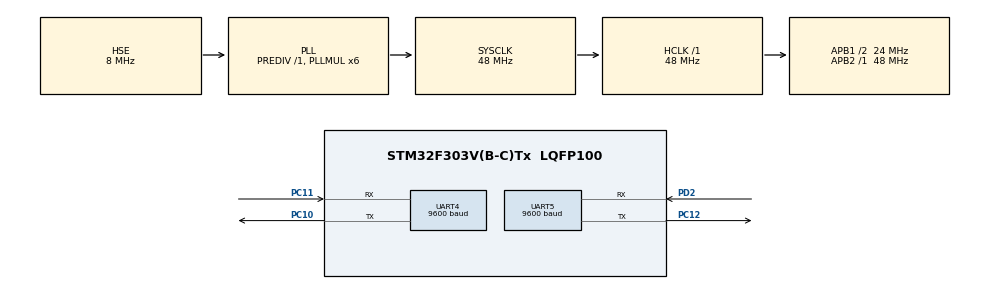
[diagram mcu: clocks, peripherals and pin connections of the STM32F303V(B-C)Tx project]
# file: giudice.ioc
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Mcu.Family=STM32F3
Mcu.Name=STM32F303V(B-C)Tx
Mcu.Package=LQFP100
NVIC.PriorityGroup=NVIC_PRIORITYGROUP_0
NVIC.TIM6_DAC_IRQn=true\:0\:0\:false\:false\:true\:true\:true\:true
NVIC.TIM7_IRQn=true\:0\:1\:false\:false\:true\:true\:true\:true
NVIC.UART4_IRQn=true\:0\:1\:false\:false\:true\:true\:true\:true
NVIC.UART5_IRQn=true\:0\:1\:false\:false\:true\:true\:true\:true
PA11.GPIO_Label=DM
PA11.Signal=USB_DM
PA12.GPIO_Label=DP
PA12.Signal=USB_DP
PA13.GPIO_Label=SWDIO
PA13.Mode=Serial_Wire
PA13.Signal=SYS_JTMS-SWDIO
PA14.GPIO_Label=SWCLK
PA14.Mode=Serial_Wire
PA14.Signal=SYS_JTCK-SWCLK
PA5.GPIO_Label=SPI1_SCK [L3GD20_SCL/SPC]
PA5.Signal=SPI1_SCK
PA6.GPIO_Label=SPI1_MISO [L3GD20_SA0/SDO]
PA6.Signal=SPI1_MISO
PA7.GPIO_Label=SPI1_MISO [L3GD20_SDA/SDI/SDO]
PA7.Signal=SPI1_MOSI
PB3.GPIO_Label=SWO
PB3.Signal=SYS_JTDO-TRACESWO
PB6.GPIO_Label=I2C1_SCL [LSM303DLHC_SCL]
PB6.GPIO_Pu=GPIO_PULLUP
PB6.Signal=I2C1_SCL
PB7.GPIO_Label=I2C1_SDA [LSM303DLHC_SDA]
PB7.GPIO_Pu=GPIO_PULLUP
PB7.Signal=I2C1_SDA
PC10.Mode=Asynchronous
PC10.Signal=UART4_TX
PC11.Mode=Asynchronous
PC11.Signal=UART4_RX
PC12.Mode=Asynchronous
PC12.Signal=UART5_TX
PC14-OSC32_IN.GPIO_Label=OSC32_IN
PC14-OSC32_IN.Signal=RCC_OSC32_IN
PC15-OSC32_OUT.GPIO_Label=OSC32_OUT
PC15-OSC32_OUT.Signal=RCC_OSC32_OUT
PD2.Mode=Asynchronous
PD2.Signal=UART5_RX
PF0-OSC_IN.GPIO_Label=OSC_IN
PF0-OSC_IN.Mode=HSE-External-Clock-Source
PF0-OSC_IN.Signal=RCC_OSC_IN
PF1-OSC_OUT.GPIO_Label=OSC_OUT
PF1-OSC_OUT.Signal=RCC_OSC_OUT
ProjectManager.HeapSize=0x200
ProjectManager.StackSize=0x400
ProjectManager.TargetToolchain=STM32CubeIDE
RCC.AHBFreq_Value=48000000
RCC.APB1CLKDivider=RCC_HCLK_DIV2
RCC.APB1Freq_Value=24000000
RCC.APB1TimFreq_Value=48000000
RCC.APB2Freq_Value=48000000
RCC.APB2TimFreq_Value=48000000
RCC.CortexFreq_Value=48000000
RCC.HCLKFreq_Value=48000000
RCC.HSE_VALUE=8000000
RCC.HSI_VALUE=8000000
RCC.LSE_VALUE=32768
RCC.PLLMUL=RCC_PLL_MUL6
RCC.PLLSourceVirtual=RCC_PLLSOURCE_HSE
RCC.SYSCLKFreq_VALUE=48000000
RCC.SYSCLKSourceVirtual=RCC_SYSCLKSOURCE_PLLCLK
RCC.USBFreq_Value=48000000
TIM6.Period=14400
TIM6.Prescaler=9999
TIM6.TIM_MasterOutputTrigger=TIM_TRGO_UPDATE
TIM7.Period=14400
TIM7.Prescaler=9999
TIM7.TIM_MasterOutputTrigger=TIM_TRGO_UPDATE
UART4.BaudRate=9600
UART4.Parity=PARITY_EVEN
UART4.WordLength=WORDLENGTH_9B
UART5.BaudRate=9600
UART5.Parity=PARITY_EVEN
UART5.WordLength=WORDLENGTH_9B
VP_TIM6_VS_ClockSourceINT.Mode=Enable_Timer
VP_TIM7_VS_ClockSourceINT.Mode=Enable_Timer
board=STM32F3DISCOVERY

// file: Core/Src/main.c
/* USER CODE BEGIN Header */
/**
  ******************************************************************************
  * @file           : main.c
  * @brief          : Main program body
  ******************************************************************************
  * @attention
  *
  * Copyright (c) 2023 STMicroelectronics.
  * All rights reserved.
  *
  * This software is licensed under terms that can be found in the LICENSE file
  * in the root directory of this software component.
  * If no LICENSE file comes with this software, it is provided AS-IS.
  *
  ******************************************************************************
  */
/* USER CODE END Header */
#include "main.h"

/* USER CODE BEGIN PM */
#define S0 0 //tutto a rosso per 3 secondi
#define S1 1 //semaforo 1 a verde per 3 secondi
#define S2 2 //semaforo 1 a giallo per 2 secondi
#define S3 3 //tutto a rosso per 3 secondi
#define S4 4 //semaforo 2 a verde per 3 secondi
#define S5 5 //semaforo 2 a giallo per 2 secondi

#define VERDE 0
#define GIALLO 1
#define ROSSO 2
/* USER CODE END PM */

 TIM_HandleTypeDef htim6;
TIM_HandleTypeDef htim7;

UART_HandleTypeDef huart4;
UART_HandleTypeDef huart5;

/* USER CODE BEGIN PV */
int stato = S0; // variabile di stato per il main
int pedone1 = ROSSO; // variabile che indica lo stato del pedone del semaforo 1
int pedone2 = ROSSO; // variabile che indica lo stato del pedone del semaforo 2

char controllo1 = 'A'; // controllo mandato al semaforo 1
char controllo2 = 'A'; // controllo mandato al semaforo 2
/* MESSAGGI DI CONTROLLO:
 * dritto_verde, svolta_verde, pedone_rosso: "A"
 * dritto_giallo, svolta_giallo, pedone_rosso: "B"
 * dritto_rosso, svolta_rosso, pedone_rosso: "C"
 * dritto_rosso, svolta_rosso, pedone_verde: "D"
 * dritto_rosso, svolta_rosso, pedone_giallo: "E"
 * dritto_verde, svolta_rosso, pedone_rosso: "F"
 * dritto_giallo, svolta_rosso, pedone_rosso: "G"
 */

char prenotazione1; // messaggio ricevuto dal semaforo 1
char prenotazione2; // messaggio ricevuto dal semaforo 2

int richiesta1 = 0; // se 1 indica che c'è una richiesta dal semaforo 1
int richiesta2 = 0; // se 1 indica che c'è una richiesta dal semaforo 2

int prima_attivazione = 1; // serve per gestire la prima interruzione del timer
/* USER CODE END PV */

void SystemClock_Config(void);
static void MX_GPIO_Init(void);
static void MX_TIM6_Init(void);
static void MX_TIM7_Init(void);
static void MX_UART4_Init(void);
static void MX_UART5_Init(void);

/* USER CODE BEGIN 0 */
void HAL_TIM_PeriodElapsedCallback(TIM_HandleTypeDef *htim)
{
  /* Prevent unused argument(s) compilation warning */
  UNUSED(htim);

  if (prima_attivazione){
	  HAL_TIM_Base_Stop(htim);
	  //htim->Instance->CNT=0;
	  prima_attivazione = 0;
	  stato = S0; // settiamo lo stato iniziale dei semafori
	  HAL_TIM_Base_Start_IT(&htim6); // avvio timer main
  }
  else if (htim == &htim6){
	  switch (stato){
	  case S0:
		  controllo1 = 'C';
		  controllo2 = 'C';
		  htim->Instance->ARR = 14400; // setto il periodo del timer main
		  stato = S1;
		  break;

	  case S1:
		  // Verifichiamo le richieste di attraversamento
		  if (richiesta1 && richiesta2){
			HAL_TIM_Base_Stop_IT(htim); // arresto timer main
			controllo1 = 'D';
			controllo2 = 'D';
			pedone1 = VERDE;
			pedone2 = VERDE;
			richiesta1 = 0;
			richiesta2 = 0;
			htim7.Instance->ARR = 14400; // setto il periodo del timer pedone
			HAL_TIM_Base_Start_IT(&htim7); // avvio timer pedone
		  }
		  else if (richiesta1){
			HAL_TIM_Base_Stop_IT(htim); // arresto timer main
			controllo1 = 'D';
			controllo2 = 'F';
			pedone1 = VERDE;
			richiesta1 = 0;
			htim7.Instance->ARR = 14400; // setto il periodo del timer pedone
			HAL_TIM_Base_Start_IT(&htim7); // avvio timer pedone
		  }
		  else if (richiesta2){
			HAL_TIM_Base_Stop_IT(htim); // arresto timer main
			controllo1 = 'F';
			controllo2 = 'D';
			pedone2 = VERDE;
			richiesta2 = 0;
			htim7.Instance->ARR = 14400; // setto il periodo del timer pedone
			HAL_TIM_Base_Start_IT(&htim7); // avvio timer pedone
		  }
		  else {//*/
			controllo1 = 'A';
			controllo2 = 'C';
			htim->Instance->ARR = 14400; // setto il periodo del timer main
			stato = S2;
		  }
		  break;

	  case S2:
			controllo1 = 'B';
			controllo2 = 'C';
			htim->Instance->ARR = 9600; // setto il periodo del timer main
			stato = S3;
			break;

	  case S3:
		controllo1 = 'C';
		controllo2 = 'C';
		htim->Instance->ARR = 14400; // setto il periodo del timer main
		stato = S4;
		  break;

	  case S4:
		  // Verifichiamo le richieste di attraversamento
		  if (richiesta1 && richiesta2){
			HAL_TIM_Base_Stop(htim); // arresto timer main
			controllo1 = 'D';
			controllo2 = 'D';
			pedone1 = VERDE;
			pedone2 = VERDE;
			richiesta1 = 0;
			richiesta2 = 0;
			htim7.Instance->ARR = 14400; // setto il periodo del timer pedone
			HAL_TIM_Base_Start_IT(&htim7); // avvio timer pedone
		  }
		  else if (richiesta1){
			HAL_TIM_Base_Stop(htim); // arresto timer main
			controllo1 = 'D';
			controllo2 = 'F';
			pedone1 = VERDE;
			richiesta1 = 0;
			htim7.Instance->ARR = 14400; // setto il periodo del timer pedone
			HAL_TIM_Base_Start_IT(&htim7); // avvio timer pedone
		  }
		  else if (richiesta2){
			HAL_TIM_Base_Stop(htim); // arresto timer main
			controllo1 = 'F';
			controllo2 = 'D';
			pedone2 = VERDE;
			richiesta2 = 0;
			htim7.Instance->ARR = 14400; // setto il periodo del timer pedone
			HAL_TIM_Base_Start_IT(&htim7); // avvio timer pedone
		  }
		  else {//*/
			controllo1 = 'C';
			controllo2 = 'A';
			htim->Instance->ARR = 14400; // setto il periodo del timer main
			stato = S5;
		  }
		  break;

	  case S5:
		controllo1 = 'C';
		controllo2 = 'B';
		htim->Instance->ARR = 9600; // setto il periodo del timer main
		stato = S0;
		break;

	  default:
		controllo1 = 'B';
		controllo2 = 'B';
		htim->Instance->ARR = 4800; // setto il periodo del timer main
		stato = S0;
	  }

	  HAL_UART_Transmit_IT(&huart4, &controllo1, 1);
	  HAL_UART_Transmit_IT(&huart5, &controllo2, 1);
  }
  else if (htim == &htim7){
	  if ((pedone1 == VERDE) && (pedone2 == VERDE)){
		  pedone1 = GIALLO;
		  pedone2 = GIALLO;
		  htim->Instance->ARR = 9600; // setto il periodo del timer pedone
		  controllo1 = 'E';
		  controllo2 = 'E';
	  }
	  else if ((pedone1 == GIALLO) && (pedone2 == GIALLO)){
		  HAL_TIM_Base_Stop_IT(htim); // arresto timer pedone
		  pedone1 = ROSSO;
		  pedone2 = ROSSO;
		  controllo1 = 'C';
		  controllo2 = 'C';
		  htim6.Instance->ARR = 14400; // setto il periodo del timer main
		  HAL_TIM_Base_Start_IT(&htim6); // avvio timer main
	  }
	  else if (pedone1 == VERDE){
		  pedone1 = GIALLO;
		  htim->Instance->ARR = 9600; // setto il periodo del timer pedone
		  controllo1 = 'E';
		  controllo2 = 'G';
	  }
	  else if (pedone1 == GIALLO){
		  HAL_TIM_Base_Stop_IT(htim); // arresto timer pedone
		  pedone1 = ROSSO;
		  controllo1 = 'C';
		  controllo2 = 'C';
		  htim6.Instance->ARR = 14400; // setto il periodo del timer main
		  HAL_TIM_Base_Start_IT(&htim6); // avvio timer main
	  }
	  else if (pedone2 == VERDE){
		  pedone2 = GIALLO;
		  htim->Instance->ARR = 9600; // setto il periodo del timer pedone
		  controllo1 = 'G';
		  controllo2 = 'E';
	  }
	  else if (pedone2 == GIALLO){
		  HAL_TIM_Base_Stop_IT(htim); // arresto timer pedone
		  pedone2 = ROSSO;
		  controllo1 = 'C';
		  controllo2 = 'C';
		  htim6.Instance->ARR = 14400; // setto il periodo del timer main
		  HAL_TIM_Base_Start_IT(&htim6); // avvio timer main
	  }

	  HAL_UART_Transmit_IT(&huart4, &controllo1, 1);
	  HAL_UART_Transmit_IT(&huart5, &controllo2, 1);
  }

}

void HAL_UART_RxCpltCallback(UART_HandleTypeDef *huart)
{
  if (huart == &huart4){
	  // La richiesta arriva dal semaforo 1
	  if (pedone1 == ROSSO){
		  richiesta1 = 1;
	  }

	  HAL_UART_Receive_IT(huart, &prenotazione1, 1);
  }
  else if (huart == &huart5){
	  // La richiesta arriva dal semaforo 2
	  if (pedone2 == ROSSO){
		  richiesta2 = 1;
	  }

	  HAL_UART_Receive_IT(huart, &prenotazione2, 1);
  }
}
/* USER CODE END 0 */

int main(void)
{

  /* MCU Configuration--------------------------------------------------------*/

  /* Reset of all peripherals, Initializes the Flash interface and the Systick. */
  HAL_Init();

  /* Configure the system clock */
  SystemClock_Config();

  /* Initialize all configured peripherals */
  MX_GPIO_Init();
  MX_TIM6_Init();
  MX_TIM7_Init();
  MX_UART4_Init();
  MX_UART5_Init();
  /* USER CODE BEGIN 2 */
  HAL_TIM_Base_Start_IT(&htim7); // avvio timer pedone

  HAL_UART_Receive_IT(&huart4, &prenotazione1, 1); //mettiamo il giudice in attesa di un messaggio dal semaforo 1
  HAL_UART_Receive_IT(&huart5, &prenotazione2, 1); //mettiamo il giudice in attesa di un messaggio dal semaforo 2
  /* USER CODE END 2 */

  /* Infinite loop */
  while (1)
  {

  }
}

void SystemClock_Config(void)
{
  RCC_OscInitTypeDef RCC_OscInitStruct = {0};
  RCC_ClkInitTypeDef RCC_ClkInitStruct = {0};
  RCC_PeriphCLKInitTypeDef PeriphClkInit = {0};

  /** Initializes the RCC Oscillators according to the specified parameters
  * in the RCC_OscInitTypeDef structure.
  */
  RCC_OscInitStruct.OscillatorType = RCC_OSCILLATORTYPE_HSE;
  RCC_OscInitStruct.HSEState = RCC_HSE_BYPASS;
  RCC_OscInitStruct.HSEPredivValue = RCC_HSE_PREDIV_DIV1;
  RCC_OscInitStruct.HSIState = RCC_HSI_ON;
  RCC_OscInitStruct.PLL.PLLState = RCC_PLL_ON;
  RCC_OscInitStruct.PLL.PLLSource = RCC_PLLSOURCE_HSE;
  RCC_OscInitStruct.PLL.PLLMUL = RCC_PLL_MUL6;
  if (HAL_RCC_OscConfig(&RCC_OscInitStruct) != HAL_OK)
  {
    Error_Handler();
  }

  /** Initializes the CPU, AHB and APB buses clocks
  */
  RCC_ClkInitStruct.ClockType = RCC_CLOCKTYPE_HCLK|RCC_CLOCKTYPE_SYSCLK
                              |RCC_CLOCKTYPE_PCLK1|RCC_CLOCKTYPE_PCLK2;
  RCC_ClkInitStruct.SYSCLKSource = RCC_SYSCLKSOURCE_PLLCLK;
  RCC_ClkInitStruct.AHBCLKDivider = RCC_SYSCLK_DIV1;
  RCC_ClkInitStruct.APB1CLKDivider = RCC_HCLK_DIV2;
  RCC_ClkInitStruct.APB2CLKDivider = RCC_HCLK_DIV1;

  if (HAL_RCC_ClockConfig(&RCC_ClkInitStruct, FLASH_LATENCY_1) != HAL_OK)
  {
    Error_Handler();
  }
  PeriphClkInit.PeriphClockSelection = RCC_PERIPHCLK_UART4|RCC_PERIPHCLK_UART5;
  PeriphClkInit.Uart4ClockSelection = RCC_UART4CLKSOURCE_PCLK1;
  PeriphClkInit.Uart5ClockSelection = RCC_UART5CLKSOURCE_PCLK1;
  if (HAL_RCCEx_PeriphCLKConfig(&PeriphClkInit) != HAL_OK)
  {
    Error_Handler();
  }
}

static void MX_TIM6_Init(void)
{

  TIM_MasterConfigTypeDef sMasterConfig = {0};

  htim6.Instance = TIM6;
  htim6.Init.Prescaler = 9999;
  htim6.Init.CounterMode = TIM_COUNTERMODE_UP;
  htim6.Init.Period = 14400;
  htim6.Init.AutoReloadPreload = TIM_AUTORELOAD_PRELOAD_DISABLE;
  if (HAL_TIM_Base_Init(&htim6) != HAL_OK)
  {
    Error_Handler();
  }
  sMasterConfig.MasterOutputTrigger = TIM_TRGO_UPDATE;
  sMasterConfig.MasterSlaveMode = TIM_MASTERSLAVEMODE_DISABLE;
  if (HAL_TIMEx_MasterConfigSynchronization(&htim6, &sMasterConfig) != HAL_OK)
  {
    Error_Handler();
  }

}

static void MX_TIM7_Init(void)
{

  TIM_MasterConfigTypeDef sMasterConfig = {0};

  htim7.Instance = TIM7;
  htim7.Init.Prescaler = 9999;
  htim7.Init.CounterMode = TIM_COUNTERMODE_UP;
  htim7.Init.Period = 14400;
  htim7.Init.AutoReloadPreload = TIM_AUTORELOAD_PRELOAD_DISABLE;
  if (HAL_TIM_Base_Init(&htim7) != HAL_OK)
  {
    Error_Handler();
  }
  sMasterConfig.MasterOutputTrigger = TIM_TRGO_UPDATE;
  sMasterConfig.MasterSlaveMode = TIM_MASTERSLAVEMODE_DISABLE;
  if (HAL_TIMEx_MasterConfigSynchronization(&htim7, &sMasterConfig) != HAL_OK)
  {
    Error_Handler();
  }

}

static void MX_UART4_Init(void)
{

  huart4.Instance = UART4;
  huart4.Init.BaudRate = 9600;
  huart4.Init.WordLength = UART_WORDLENGTH_9B;
  huart4.Init.StopBits = UART_STOPBITS_1;
  huart4.Init.Parity = UART_PARITY_EVEN;
  huart4.Init.Mode = UART_MODE_TX_RX;
  huart4.Init.HwFlowCtl = UART_HWCONTROL_NONE;
  huart4.Init.OverSampling = UART_OVERSAMPLING_16;
  huart4.Init.OneBitSampling = UART_ONE_BIT_SAMPLE_DISABLE;
  huart4.AdvancedInit.AdvFeatureInit = UART_ADVFEATURE_NO_INIT;
  if (HAL_UART_Init(&huart4) != HAL_OK)
  {
    Error_Handler();
  }

}

static void MX_UART5_Init(void)
{

  huart5.Instance = UART5;
  huart5.Init.BaudRate = 9600;
  huart5.Init.WordLength = UART_WORDLENGTH_9B;
  huart5.Init.StopBits = UART_STOPBITS_1;
  huart5.Init.Parity = UART_PARITY_EVEN;
  huart5.Init.Mode = UART_MODE_TX_RX;
  huart5.Init.HwFlowCtl = UART_HWCONTROL_NONE;
  huart5.Init.OverSampling = UART_OVERSAMPLING_16;
  huart5.Init.OneBitSampling = UART_ONE_BIT_SAMPLE_DISABLE;
  huart5.AdvancedInit.AdvFeatureInit = UART_ADVFEATURE_NO_INIT;
  if (HAL_UART_Init(&huart5) != HAL_OK)
  {
    Error_Handler();
  }

}

static void MX_GPIO_Init(void)
{
  GPIO_InitTypeDef GPIO_InitStruct = {0};

  /* GPIO Ports Clock Enable */
  __HAL_RCC_GPIOC_CLK_ENABLE();
  __HAL_RCC_GPIOF_CLK_ENABLE();
  __HAL_RCC_GPIOA_CLK_ENABLE();
  __HAL_RCC_GPIOD_CLK_ENABLE();
  __HAL_RCC_GPIOB_CLK_ENABLE();

  /*Configure GPIO pins : SPI1_SCK_Pin SPI1_MISO_Pin SPI1_MISOA7_Pin */
  GPIO_InitStruct.Pin = SPI1_SCK_Pin|SPI1_MISO_Pin|SPI1_MISOA7_Pin;
  GPIO_InitStruct.Mode = GPIO_MODE_AF_PP;
  GPIO_InitStruct.Pull = GPIO_NOPULL;
  GPIO_InitStruct.Speed = GPIO_SPEED_FREQ_HIGH;
  GPIO_InitStruct.Alternate = GPIO_AF5_SPI1;
  HAL_GPIO_Init(GPIOA, &GPIO_InitStruct);

  /*Configure GPIO pins : DM_Pin DP_Pin */
  GPIO_InitStruct.Pin = DM_Pin|DP_Pin;
  GPIO_InitStruct.Mode = GPIO_MODE_AF_PP;
  GPIO_InitStruct.Pull = GPIO_NOPULL;
  GPIO_InitStruct.Speed = GPIO_SPEED_FREQ_HIGH;
  GPIO_InitStruct.Alternate = GPIO_AF14_USB;
  HAL_GPIO_Init(GPIOA, &GPIO_InitStruct);

  /*Configure GPIO pins : I2C1_SCL_Pin I2C1_SDA_Pin */
  GPIO_InitStruct.Pin = I2C1_SCL_Pin|I2C1_SDA_Pin;
  GPIO_InitStruct.Mode = GPIO_MODE_AF_OD;
  GPIO_InitStruct.Pull = GPIO_PULLUP;
  GPIO_InitStruct.Speed = GPIO_SPEED_FREQ_HIGH;
  GPIO_InitStruct.Alternate = GPIO_AF4_I2C1;
  HAL_GPIO_Init(GPIOB, &GPIO_InitStruct);

}

void Error_Handler(void)
{
  __disable_irq();
  while (1)
  {
  }
}
